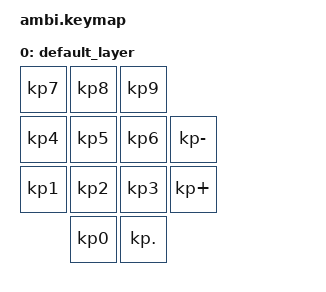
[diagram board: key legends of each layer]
/*
 * Copyright (c) 2025 The ZMK Contributors
 *
 * SPDX-License-Identifier: MIT
 */

#include <behaviors.dtsi>
#include <dt-bindings/zmk/keys.h>
#include <dt-bindings/zmk/bt.h>

/ {
    keymap {
        compatible = "zmk,keymap";

        default_layer {
// -----------------------------------------------------------------------------------------
// Ambi10 Layout (13 keys) - Based on QMK default keymap
// | 7   | 8  | 9  |
// | 4   | 5  | 6  | -  |
// | 1   | 2  | 3  | +  |
//       | 0  | .  |
            bindings = <
   &kp KP_N7     &kp KP_N8       &kp KP_N9
   &kp KP_N4     &kp KP_N5       &kp KP_N6       &kp KP_MINUS
   &kp KP_N1     &kp KP_N2       &kp KP_N3       &kp KP_PLUS
                 &kp KP_N0       &kp KP_DOT
            >;
        };
    };
};
